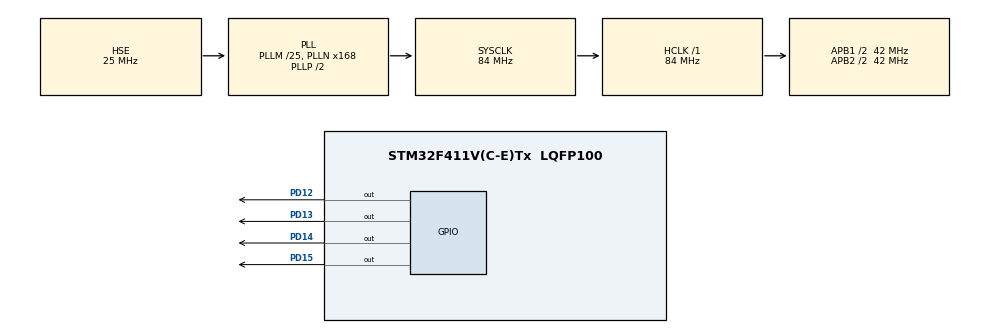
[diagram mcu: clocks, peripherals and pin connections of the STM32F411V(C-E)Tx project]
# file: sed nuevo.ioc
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ADC1.Channel-0\#ChannelRegularConversion=ADC_CHANNEL_VREFINT
ADC1.Channel-1\#ChannelRegularConversion=ADC_CHANNEL_TEMPSENSOR
ADC1.ContinuousConvMode=ENABLE
ADC1.DMAContinuousRequests=ENABLE
ADC1.DiscontinuousConvMode=DISABLE
ADC1.ExternalTrigConv=ADC_EXTERNALTRIGCONV_T3_TRGO
ADC1.NbrOfConversion=2
ADC1.NbrOfConversionFlag=1
ADC1.Rank-0\#ChannelRegularConversion=1
ADC1.Rank-1\#ChannelRegularConversion=2
ADC1.SamplingTime-0\#ChannelRegularConversion=ADC_SAMPLETIME_480CYCLES
ADC1.SamplingTime-1\#ChannelRegularConversion=ADC_SAMPLETIME_480CYCLES
ADC1.ScanConvMode=ENABLE
ADC1.master=1
Dma.ADC1.0.Direction=DMA_PERIPH_TO_MEMORY
Dma.ADC1.0.FIFOMode=DMA_FIFOMODE_DISABLE
Dma.ADC1.0.Instance=DMA2_Stream0
Dma.ADC1.0.MemDataAlignment=DMA_MDATAALIGN_HALFWORD
Dma.ADC1.0.MemInc=DMA_MINC_ENABLE
Dma.ADC1.0.Mode=DMA_CIRCULAR
Dma.ADC1.0.PeriphDataAlignment=DMA_PDATAALIGN_HALFWORD
Dma.ADC1.0.PeriphInc=DMA_PINC_DISABLE
Dma.ADC1.0.Priority=DMA_PRIORITY_LOW
Dma.Request0=ADC1
Mcu.Family=STM32F4
Mcu.Name=STM32F411V(C-E)Tx
Mcu.Package=LQFP100
NVIC.ADC_IRQn=true\:0\:0\:false\:false\:true\:true\:true\:true
NVIC.DMA2_Stream0_IRQn=true\:0\:0\:false\:false\:true\:false\:true\:true
NVIC.PriorityGroup=NVIC_PRIORITYGROUP_0
PA13.Mode=Serial_Wire
PA13.Signal=SYS_JTMS-SWDIO
PA14.Mode=Serial_Wire
PA14.Signal=SYS_JTCK-SWCLK
PD12.Signal=GPIO_Output
PD13.Signal=GPIO_Output
PD14.Signal=GPIO_Output
PD15.Signal=GPIO_Output
PH0\ -\ OSC_IN.Mode=HSE-External-Oscillator
PH0\ -\ OSC_IN.Signal=RCC_OSC_IN
PH1\ -\ OSC_OUT.Mode=HSE-External-Oscillator
PH1\ -\ OSC_OUT.Signal=RCC_OSC_OUT
ProjectManager.HeapSize=0x200
ProjectManager.StackSize=0x400
ProjectManager.TargetToolchain=STM32CubeIDE
RCC.48MHZClocksFreq_Value=21000000
RCC.AHBFreq_Value=84000000
RCC.APB1CLKDivider=RCC_HCLK_DIV2
RCC.APB1Freq_Value=42000000
RCC.APB1TimFreq_Value=84000000
RCC.APB2CLKDivider=RCC_HCLK_DIV2
RCC.APB2Freq_Value=42000000
RCC.APB2TimFreq_Value=84000000
RCC.CortexFreq_Value=84000000
RCC.HCLKFreq_Value=84000000
RCC.HSE_VALUE=25000000
RCC.HSI_VALUE=16000000
RCC.LSE_VALUE=32768
RCC.PLLI2SM=5
RCC.PLLI2SN=200
RCC.PLLM=25
RCC.PLLN=168
RCC.PLLQ=8
RCC.PLLSourceVirtual=RCC_PLLSOURCE_HSE
RCC.SYSCLKFreq_VALUE=84000000
RCC.SYSCLKSource=RCC_SYSCLKSOURCE_PLLCLK
RCC.VCOOutputFreq_Value=168000000
TIM3.Period=10000-1
TIM3.TIM_MasterOutputTrigger=TIM_TRGO_UPDATE
VP_ADC1_TempSens_Input.Mode=IN-TempSens
VP_ADC1_Vref_Input.Mode=IN-Vrefint
VP_TIM3_VS_ClockSourceINT.Mode=Internal
board=STM32F411E-DISCO

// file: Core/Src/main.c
/* USER CODE BEGIN Header */
/**
  **************************
  * @file           : main.c
  * @brief          : Main program body
  **************************
  * @attention
  *
  * Copyright (c) 2023 STMicroelectronics.
  * All rights reserved.
  *
  * This software is licensed under terms that can be found in the LICENSE file
  * in the root directory of this software component.
  * If no LICENSE file comes with this software, it is provided AS-IS.
  *
  **************************
  */
/* USER CODE END Header */
#include "main.h"

ADC_HandleTypeDef hadc1;
DMA_HandleTypeDef hdma_adc1;

TIM_HandleTypeDef htim3;

/* USER CODE BEGIN PV */

uint16_t AdcRaw[2];

uint8_t AdcConvCmplt = 0;

/* USER CODE END PV */

double Temperature;

void SystemClock_Config(void);
static void MX_GPIO_Init(void);
static void MX_DMA_Init(void);
static void MX_ADC1_Init(void);
static void MX_TIM3_Init(void);

int main(void)
{

  /* MCU Configuration--------------------------------------------------------*/

  /* Reset of all peripherals, Initializes the Flash interface and the Systick. */
  HAL_Init();

  /* Configure the system clock */
  SystemClock_Config();

  /* Initialize all configured peripherals */
  MX_GPIO_Init();
  MX_DMA_Init();
  MX_ADC1_Init();
  MX_TIM3_Init();
  /* USER CODE BEGIN 2 */

  HAL_ADC_Start_DMA(&hadc1, (uint32_t*)AdcRaw, 2);
  HAL_TIM_Base_Start(&htim3);

#define VREFINT 1.21 /* Internal reference voltage, V */
#define ADCMAX 4095.0 /* (2^12)-1 ADC maximum value */

#define V25 0.76 /* Sensor's voltage at 25 °C */
#define AVG_SLOPE 0.0025 /* V (2.5mV/°C) */

  /* USER CODE END 2 */

  /* Infinite loop */
  /* USER CODE BEGIN WHILE */
  while (1)
  {
	  if(AdcConvCmplt){

		 double VrefInt = (VREFINT*ADCMAX)/AdcRaw[0];

		 double VTmpSens = (VrefInt*AdcRaw[1])/ADCMAX;

		 Temperature = (VTmpSens - V25)/(AVG_SLOPE) + 25.0;

		  AdcConvCmplt = 0;
	  }
    /* USER CODE END WHILE */

    /* USER CODE BEGIN 3 */

	  //Led lighting
	  	  	  if (Temperature <= 20){
	  	  		  HAL_GPIO_WritePin(GPIOD,GPIO_PIN_15,GPIO_PIN_SET); // Blue
	  	  		  HAL_GPIO_WritePin(GPIOD,GPIO_PIN_14,GPIO_PIN_RESET); // Red
	  	  		  HAL_GPIO_WritePin(GPIOD,GPIO_PIN_13,GPIO_PIN_RESET); // Orange
	  	  		  HAL_GPIO_WritePin(GPIOD,GPIO_PIN_12,GPIO_PIN_RESET); // Green
	  	  	  }
	  	  	  else if (Temperature <= 25){
	  	  		  HAL_GPIO_WritePin(GPIOD,GPIO_PIN_15,GPIO_PIN_RESET); // Blue
	  	  		  HAL_GPIO_WritePin(GPIOD,GPIO_PIN_14,GPIO_PIN_SET); // Red
	  	  		  HAL_GPIO_WritePin(GPIOD,GPIO_PIN_13,GPIO_PIN_RESET); // Orange
	  	  		  HAL_GPIO_WritePin(GPIOD,GPIO_PIN_12,GPIO_PIN_RESET); // Green
	  	  	  }
	  	  	  else if (Temperature <= 30){
	  	  		  HAL_GPIO_WritePin(GPIOD,GPIO_PIN_15,GPIO_PIN_RESET); // Blue
	  	  		  HAL_GPIO_WritePin(GPIOD,GPIO_PIN_14,GPIO_PIN_RESET); // Red
	  	  		  HAL_GPIO_WritePin(GPIOD,GPIO_PIN_13,GPIO_PIN_SET); // Orange
	  	  		  HAL_GPIO_WritePin(GPIOD,GPIO_PIN_12,GPIO_PIN_RESET); // Green
	  	  	  }
	  	  	  else if (Temperature <= 35){
	  	  		  HAL_GPIO_WritePin(GPIOD,GPIO_PIN_15,GPIO_PIN_RESET); // Blue
	  	  		  HAL_GPIO_WritePin(GPIOD,GPIO_PIN_14,GPIO_PIN_RESET); // Red
	  	  		  HAL_GPIO_WritePin(GPIOD,GPIO_PIN_13,GPIO_PIN_RESET); // Orange
	  	  		  HAL_GPIO_WritePin(GPIOD,GPIO_PIN_12,GPIO_PIN_SET); // Green
	  	  	  }
  }
  /* USER CODE END 3 */
}

void SystemClock_Config(void)
{
  RCC_OscInitTypeDef RCC_OscInitStruct = {0};
  RCC_ClkInitTypeDef RCC_ClkInitStruct = {0};

  /** Configure the main internal regulator output voltage
  */
  __HAL_RCC_PWR_CLK_ENABLE();
  __HAL_PWR_VOLTAGESCALING_CONFIG(PWR_REGULATOR_VOLTAGE_SCALE1);

  /** Initializes the RCC Oscillators according to the specified parameters
  * in the RCC_OscInitTypeDef structure.
  */
  RCC_OscInitStruct.OscillatorType = RCC_OSCILLATORTYPE_HSE;
  RCC_OscInitStruct.HSEState = RCC_HSE_ON;
  RCC_OscInitStruct.PLL.PLLState = RCC_PLL_ON;
  RCC_OscInitStruct.PLL.PLLSource = RCC_PLLSOURCE_HSE;
  RCC_OscInitStruct.PLL.PLLM = 25;
  RCC_OscInitStruct.PLL.PLLN = 168;
  RCC_OscInitStruct.PLL.PLLP = RCC_PLLP_DIV2;
  RCC_OscInitStruct.PLL.PLLQ = 8;
  if (HAL_RCC_OscConfig(&RCC_OscInitStruct) != HAL_OK)
  {
    Error_Handler();
  }

  /** Initializes the CPU, AHB and APB buses clocks
  */
  RCC_ClkInitStruct.ClockType = RCC_CLOCKTYPE_HCLK|RCC_CLOCKTYPE_SYSCLK
                              |RCC_CLOCKTYPE_PCLK1|RCC_CLOCKTYPE_PCLK2;
  RCC_ClkInitStruct.SYSCLKSource = RCC_SYSCLKSOURCE_PLLCLK;
  RCC_ClkInitStruct.AHBCLKDivider = RCC_SYSCLK_DIV1;
  RCC_ClkInitStruct.APB1CLKDivider = RCC_HCLK_DIV2;
  RCC_ClkInitStruct.APB2CLKDivider = RCC_HCLK_DIV2;

  if (HAL_RCC_ClockConfig(&RCC_ClkInitStruct, FLASH_LATENCY_2) != HAL_OK)
  {
    Error_Handler();
  }
}

static void MX_ADC1_Init(void)
{

  ADC_ChannelConfTypeDef sConfig = {0};

  /** Configure the global features of the ADC (Clock, Resolution, Data Alignment and number of conversion)
  */
  hadc1.Instance = ADC1;
  hadc1.Init.ClockPrescaler = ADC_CLOCK_SYNC_PCLK_DIV2;
  hadc1.Init.Resolution = ADC_RESOLUTION_12B;
  hadc1.Init.ScanConvMode = ENABLE;
  hadc1.Init.ContinuousConvMode = ENABLE;
  hadc1.Init.DiscontinuousConvMode = DISABLE;
  hadc1.Init.ExternalTrigConvEdge = ADC_EXTERNALTRIGCONVEDGE_RISING;
  hadc1.Init.ExternalTrigConv = ADC_EXTERNALTRIGCONV_T3_TRGO;
  hadc1.Init.DataAlign = ADC_DATAALIGN_RIGHT;
  hadc1.Init.NbrOfConversion = 2;
  hadc1.Init.DMAContinuousRequests = ENABLE;
  hadc1.Init.EOCSelection = ADC_EOC_SINGLE_CONV;
  if (HAL_ADC_Init(&hadc1) != HAL_OK)
  {
    Error_Handler();
  }

  /** Configure for the selected ADC regular channel its corresponding rank in the sequencer and its sample time.
  */
  sConfig.Channel = ADC_CHANNEL_VREFINT;
  sConfig.Rank = 1;
  sConfig.SamplingTime = ADC_SAMPLETIME_480CYCLES;
  if (HAL_ADC_ConfigChannel(&hadc1, &sConfig) != HAL_OK)
  {
    Error_Handler();
  }

  /** Configure for the selected ADC regular channel its corresponding rank in the sequencer and its sample time.
  */
  sConfig.Channel = ADC_CHANNEL_TEMPSENSOR;
  sConfig.Rank = 2;
  if (HAL_ADC_ConfigChannel(&hadc1, &sConfig) != HAL_OK)
  {
    Error_Handler();
  }

}

static void MX_TIM3_Init(void)
{

  TIM_ClockConfigTypeDef sClockSourceConfig = {0};
  TIM_MasterConfigTypeDef sMasterConfig = {0};

  htim3.Instance = TIM3;
  htim3.Init.Prescaler = 0;
  htim3.Init.CounterMode = TIM_COUNTERMODE_UP;
  htim3.Init.Period = 10000-1;
  htim3.Init.ClockDivision = TIM_CLOCKDIVISION_DIV1;
  htim3.Init.AutoReloadPreload = TIM_AUTORELOAD_PRELOAD_DISABLE;
  if (HAL_TIM_Base_Init(&htim3) != HAL_OK)
  {
    Error_Handler();
  }
  sClockSourceConfig.ClockSource = TIM_CLOCKSOURCE_INTERNAL;
  if (HAL_TIM_ConfigClockSource(&htim3, &sClockSourceConfig) != HAL_OK)
  {
    Error_Handler();
  }
  sMasterConfig.MasterOutputTrigger = TIM_TRGO_UPDATE;
  sMasterConfig.MasterSlaveMode = TIM_MASTERSLAVEMODE_DISABLE;
  if (HAL_TIMEx_MasterConfigSynchronization(&htim3, &sMasterConfig) != HAL_OK)
  {
    Error_Handler();
  }

}

static void MX_DMA_Init(void)
{

  /* DMA controller clock enable */
  __HAL_RCC_DMA2_CLK_ENABLE();

  /* DMA interrupt init */
  /* DMA2_Stream0_IRQn interrupt configuration */
  HAL_NVIC_SetPriority(DMA2_Stream0_IRQn, 0, 0);
  HAL_NVIC_EnableIRQ(DMA2_Stream0_IRQn);

}

static void MX_GPIO_Init(void)
{
  GPIO_InitTypeDef GPIO_InitStruct = {0};

  /* GPIO Ports Clock Enable */
  __HAL_RCC_GPIOH_CLK_ENABLE();
  __HAL_RCC_GPIOD_CLK_ENABLE();
  __HAL_RCC_GPIOA_CLK_ENABLE();

  /*Configure GPIO pin Output Level */
  HAL_GPIO_WritePin(GPIOD, GPIO_PIN_12|GPIO_PIN_13|GPIO_PIN_14|GPIO_PIN_15, GPIO_PIN_RESET);

  /*Configure GPIO pins : PD12 PD13 PD14 PD15 */
  GPIO_InitStruct.Pin = GPIO_PIN_12|GPIO_PIN_13|GPIO_PIN_14|GPIO_PIN_15;
  GPIO_InitStruct.Mode = GPIO_MODE_OUTPUT_PP;
  GPIO_InitStruct.Pull = GPIO_NOPULL;
  GPIO_InitStruct.Speed = GPIO_SPEED_FREQ_LOW;
  HAL_GPIO_Init(GPIOD, &GPIO_InitStruct);

}

/* USER CODE BEGIN 4 */

void HAL_ADC_ConvCpltCallback(ADC_HandleTypeDef* hadc)
{

	if(hadc->Instance == ADC1){
			AdcConvCmplt = 255;
		}
}

/* USER CODE END 4 */

void Error_Handler(void)
{
  __disable_irq();
  while (1)
  {
  }
}
